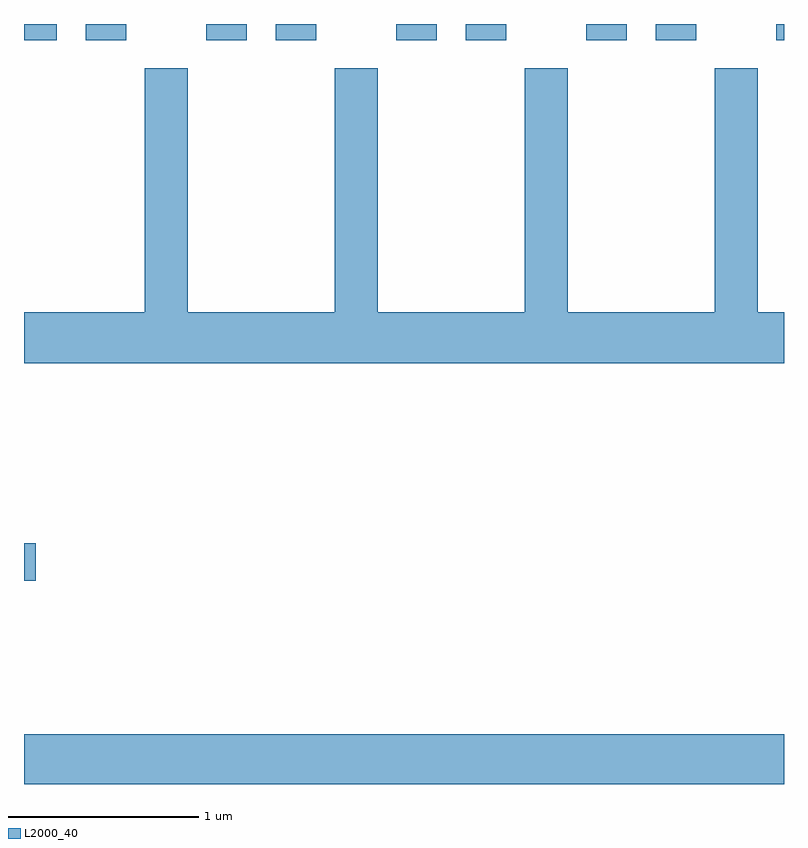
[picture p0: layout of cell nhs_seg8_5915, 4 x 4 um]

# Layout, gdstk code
import gdstk
lib = gdstk.Library(unit=1e-6, precision=1e-09)
def R(c, l, rs):  # rectangles x0, y0, x1, y1
    for r in rs: c.add(gdstk.rectangle(r[:2], r[2:], *l))
def P(c, l, *ps):  # polygons
    for p in ps: c.add(gdstk.Polygon(p, *l))
L2000_40 = (2000, 40)

nhs_seg8_5915 = lib.new_cell('nhs_seg8_5915')
R(nhs_seg8_5915, L2000_40, [(361.611,1916.342,365.611,1916.604), (361.611,1917.411,361.674,1917.609), (361.611,1920.256,361.784,1920.342), (361.936,1920.256,362.149,1920.342), (362.571,1920.256,362.784,1920.342), (362.936,1920.256,363.149,1920.342), (363.571,1920.256,363.784,1920.342), (363.936,1920.256,364.149,1920.342), (364.571,1920.256,364.784,1920.342), (364.936,1920.256,365.149,1920.342), (365.571,1920.256,365.611,1920.342)])
P(nhs_seg8_5915, L2000_40, [(365.611,1918.824),(365.474,1918.824),(365.474,1920.109),(365.246,1920.109),(365.246,1918.824),(364.474,1918.824),(364.474,1920.109),(364.246,1920.109),(364.246,1918.824),(363.474,1918.824),(363.474,1920.109),(363.246,1920.109),(363.246,1918.824),(362.474,1918.824),(362.474,1920.109),(362.246,1920.109),(362.246,1918.824),(361.611,1918.824),(361.611,1918.556),(365.611,1918.556)])

lib.write_gds('nhs_seg8_5915.gds')
